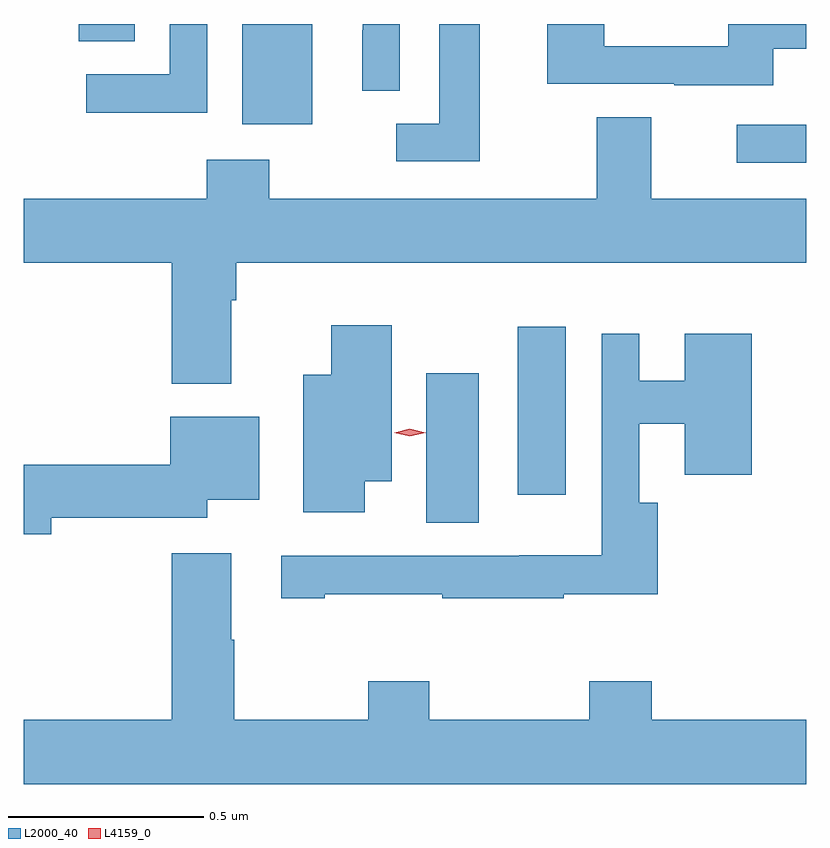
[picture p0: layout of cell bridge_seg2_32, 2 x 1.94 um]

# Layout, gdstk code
import gdstk
lib = gdstk.Library(unit=1e-6, precision=1e-09)
def R(c, l, rs):  # rectangles x0, y0, x1, y1
    for r in rs: c.add(gdstk.rectangle(r[:2], r[2:], *l))
def P(c, l, *ps):  # polygons
    for p in ps: c.add(gdstk.Polygon(p, *l))
L2000_40 = (2000, 40)
L4159_0 = (4159, 0)

bridge_seg2_32 = lib.new_cell('bridge_seg2_32')
R(bridge_seg2_32, L2000_40, [(815.588,611.008,815.722,611.389), (815.822,611.079,815.944,611.509), (816.381,611.928,816.559,612.024), (815.117,612.026,815.296,612.282), (814.7,612.238,814.843,612.282)])
P(bridge_seg2_32, L2000_40, [(815.52,612.282),(815.426,612.282),(815.426,612.266),(815.424,612.266),(815.424,612.112),(815.52,612.112)],
  [(815.028,612.282),(814.932,612.282),(814.932,612.153),(814.719,612.153),(814.719,612.055),(815.028,612.055)],
  [(815.725,612.282),(815.621,612.282),(815.621,612.027),(815.511,612.027),(815.511,611.931),(815.725,611.931)],
  [(816.475,612.219),(816.559,612.219),(816.559,612.282),(816.36,612.282),(816.36,612.225),(816.042,612.225),(816.042,612.282),(815.897,612.282),(815.897,612.129),(816.221,612.129),(816.221,612.125),(816.475,612.125)],
  [(815.089,611.576),(815.102,611.576),(815.102,611.672),(816.559,611.672),(816.559,611.836),(816.163,611.836),(816.163,612.044),(816.023,612.044),(816.023,611.836),(815.187,611.836),(815.187,611.935),(815.027,611.935),(815.027,611.836),(814.559,611.836),(814.559,611.672),(814.937,611.672),(814.937,611.363),(815.089,611.363)],
  [(815.431,611.114),(815.5,611.114),(815.5,611.512),(815.345,611.512),(815.345,611.386),(815.273,611.386),(815.273,611.034),(815.431,611.034)],
  [(815.329,610.825),(815.629,610.825),(815.629,610.815),(815.939,610.815),(815.939,610.825),(816.179,610.825),(816.179,611.059),(816.132,611.059),(816.132,611.261),(816.248,611.261),(816.248,611.13),(816.419,611.13),(816.419,611.491),(816.248,611.491),(816.248,611.371),(816.132,611.371),(816.132,611.491),(816.036,611.491),(816.036,610.924),(815.826,610.924),(815.826,610.923),(815.217,610.923),(815.217,610.815),(815.329,610.815)],
  [(814.63,611.02),(815.028,611.02),(815.028,611.066),(815.161,611.066),(815.161,611.278),(814.934,611.278),(814.934,611.156),(814.559,611.156),(814.559,610.978),(814.63,610.978)],
  [(816.559,610.504),(816.164,610.504),(816.164,610.603),(816.004,610.603),(816.004,610.504),(815.595,610.504),(815.595,610.603),(815.44,610.603),(815.44,610.504),(815.097,610.504),(815.097,610.709),(815.089,610.709),(815.089,610.93),(814.937,610.93),(814.937,610.504),(814.559,610.504),(814.559,610.34),(816.559,610.34)])
P(bridge_seg2_32, L4159_0, [(815.546,611.228),(815.506,611.237),(815.506,611.238),(815.506,611.238),(815.546,611.248),(815.586,611.238),(815.586,611.238),(815.586,611.237)])

lib.write_gds('bridge_seg2_32.gds')
